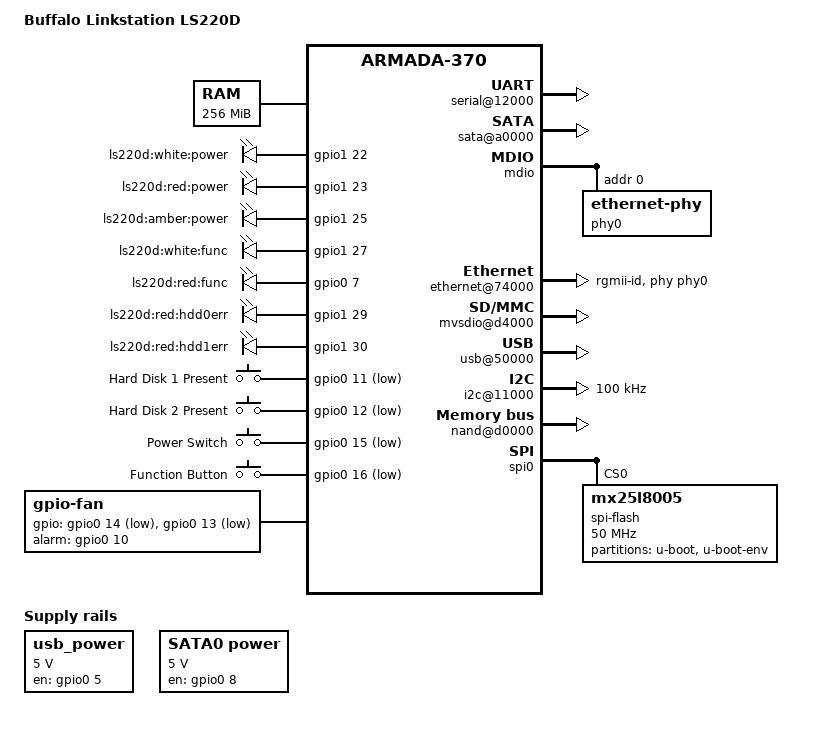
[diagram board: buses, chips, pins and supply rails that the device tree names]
// SPDX-License-Identifier: (GPL-2.0+ OR MIT)
/*
* Device Tree file for Buffalo LinkStation LS220D
*
* Copyright (C) Toha <tohenk@yahoo.com>, modified by Jeremy J. Peper
*/

/dts-v1/;

#include <dt-bindings/input/input.h>
#include <dt-bindings/gpio/gpio.h>
#include "armada-370.dtsi"

/ {
	model = "Buffalo Linkstation LS220D";
	compatible = "buffalo,ls220d", "marvell,armada370", "marvell,armada-370-xp";

	chosen {
		bootargs = "earlyprintk boot=local";
		stdout-path = "serial0:115200n8";
	};

	memory {
		device_type = "memory";
		reg = <0x00000000 0x10000000>; /* 256 MB */
	};

	soc {
		ranges = <MBUS_ID(0xf0, 0x01) 0 0xd0000000 0x100000
			  MBUS_ID(0x01, 0xe0) 0 0xfff00000 0x100000
			  MBUS_ID(0x09, 0x01) 0 0xf1100000 0x10000>;

		internal-regs {
			serial@12000 {
				status = "okay";
			};

			sata@a0000 {
				nr-ports = <2>;
				status = "okay";
			};

			timer@20300 {
				status = "okay";
			};

			mdio {
				pinctrl-0 = <&mdio_pins>;
				pinctrl-names = "default";

				phy0: ethernet-phy@0 {
					reg = <0>;
				};
			};

			ethernet@74000 {
				pinctrl-0 = <&ge1_rgmii_pins>;
				pinctrl-names = "default";
				status = "okay";
				phy = <&phy0>;
				phy-mode = "rgmii-id";
			};

			mvsdio@d4000 {
				pinctrl-0 = <&sdio_pins3>;
				pinctrl-names = "default";
				status = "okay";
				broken-cd;
			};

			usb@50000 {
				status = "okay";
			};

			i2c@11000 {
				status = "okay";
				clock-frequency = <100000>;
			};

			nand@d0000 {
				status = "okay";
				num-cs = <1>;
				marvell,nand-keep-config;
				marvell,nand-enable-arbiter;
				nand-on-flash-bbt;

				/* Use Hardware BCH ECC */
				//nand-ecc-strength = <4>;
				//nand-ecc-step-size = <512>;

				partition@0 {
					label = "boot";
					reg = <0x00000000 0x02000000>;  /* 32MB */
				};
				partition@02100000 {
					label = "rootfs";
					reg = <0x02000000 0x1e000000>;  /* 480MB */
				};
			};
		};
	};

	regulators {
		compatible = "simple-bus";
		#address-cells = <1>;
		#size-cells = <0>;
		pinctrl-0 = <&usb_vbus &hdd_pwr0>;
		pinctrl-names = "default";

		usb_power: regulator@1 {
			compatible = "regulator-fixed";
			reg = <1>;
			regulator-name = "USB Power";
			regulator-min-microvolt = <5000000>;
			regulator-max-microvolt = <5000000>;
			enable-active-high;
			regulator-always-on;
			regulator-boot-on;
			gpio = <&gpio0 5 GPIO_ACTIVE_LOW>;
		};

		regulator@2 {
			compatible = "regulator-fixed";
			reg = <2>;
			regulator-name = "SATA0 power";
			regulator-min-microvolt = <5000000>;
			regulator-max-microvolt = <5000000>;
			enable-active-high;
			regulator-always-on;
			regulator-boot-on;
			gpio = <&gpio0 8 GPIO_ACTIVE_HIGH>;
		};
		
		//still looking for the gpio for second drive, 
	};

	gpio-leds {
		compatible = "gpio-leds";
		pinctrl-names = "default";
		pinctrl-0 = <&power_led_pin &alarm_led_pin &info_led_pin &func_led_pin 
				&system_led_pins &sata1_led_pin &sata2_led_pin>;

		white-power-led {
			label = "ls220d:white:power";
			gpios = <&gpio1 22 GPIO_ACTIVE_HIGH>;
			default-state = "on";
		};
		red-power-led {
			label = "ls220d:red:power";
			gpios = <&gpio1 23 GPIO_ACTIVE_HIGH>;
			default-state = "off";
		};
		amber-power-led {
			label = "ls220d:amber:power";
			gpios = <&gpio1 25 GPIO_ACTIVE_HIGH>;
			default-state = "off";
		};
		white-func-led {
			label = "ls220d:white:func";
			gpios = <&gpio1 27 GPIO_ACTIVE_HIGH>;
			default-state = "off";
			linux,default-trigger = "disk-activity";
		};
		red-func-led {
			label = "ls220d:red:func";
			gpios = <&gpio0 7 GPIO_ACTIVE_HIGH>;
			default-state = "off";
		};
		red-hdd0err-led {
			label = "ls220d:red:hdd0err";
			gpios = <&gpio1 29 GPIO_ACTIVE_HIGH>;
			default-state = "off";
			linux,default-trigger = "ata1";
		};
		red-hdd1err-led {
			label = "ls220d:red:hdd1err";
			gpios = <&gpio1 30 GPIO_ACTIVE_HIGH>;
			default-state = "off";
			linux,default-trigger = "ata1";
		};
	};

	restart_poweroff {
                compatible = "restart-poweroff";
        };

	gpio-keys {
		compatible = "gpio-keys";
		pinctrl-0 = <&power_switch &func_button &hdd_hot0_n &hdd_hot1_n>;
		pinctrl-names = "default";

		hdd0-hot {
                        label = "Hard Disk 1 Present";
                        linux,code = <KEY_PROG1>;
                        gpios = <&gpio0 11 GPIO_ACTIVE_LOW>;
                };

                hdd1-hot {
                        label = "Hard Disk 2 Present";
                        linux,code = <KEY_PROG2>;
                        gpios = <&gpio0 12 GPIO_ACTIVE_LOW>;
                };

		power-switch {
			label = "Power Switch";
			linux,code = <KEY_POWER>;
			gpios = <&gpio0 15 GPIO_ACTIVE_LOW>;
		};
		func-button {
			label = "Function Button";
			linux,code = <KEY_OPTION>;
			gpios = <&gpio0 16 GPIO_ACTIVE_LOW>;
		};
	};

	gpio-fan {
		compatible = "gpio-fan";
		pinctrl-0 = <&fan_low &fan_high &fan_lock>;
		pinctrl-names = "default";
		gpios = <&gpio0 14 GPIO_ACTIVE_LOW
		         &gpio0 13 GPIO_ACTIVE_LOW>;
		gpio-fan,speed-map = <0    3
		                      1500 2
		                      3250 1
		                      5000 0>;
		alarm-gpios = <&gpio0 10 GPIO_ACTIVE_HIGH>;
	};
};

&spi0 {
	status = "okay";
	pinctrl-0 = <&spi0_pins2>;

	spi-flash@0 {
		#address-cells = <1>;
		#size-cells = <1>;
		compatible = "mx25l8005", "jedec,spi-nor";
		reg = <0>; /* Chip select 0 */
		spi-max-frequency = <50000000>;

		partition@00000 {
			label = "u-boot";
			reg = <0x00000 0xf0000>;
			read-only;
		};
		partition@f0000 {
			label = "u-boot-env";
			reg = <0xf0000 0x10000>;
		};
	};
};

&pinctrl {
	usb_vbus: usb-vbus {
		marvell,pins = "mpp5";
		marvell,function = "gpo";
	};

	system_led_pins: system-led-pins {
                marvell,pins = "mpp7";
                marvell,function = "gpo";
        };

	hdd_pwr0: hdd-pwr0 {
		marvell,pins = "mpp8";
		marvell,function = "gpio";
	};

	fan_lock: fan-lock {
		marvell,pins = "mpp10";
		marvell,function = "gpio";
	};

	hdd_hot0_n: hdd-hot0-n {
                marvell,pins = "mpp11";
                marvell,function = "gpio";
        };

        hdd_hot1_n: hdd-hot1-n {
                marvell,pins = "mpp12";
                marvell,function = "gpio";
        };

	fan_high: fan-high {
		marvell,pins = "mpp13";
		marvell,function = "gpio";
	};
	fan_low: fan-low {
		marvell,pins = "mpp14";
		marvell,function = "gpio";
	};
	power_switch: power-switch {
		marvell,pins = "mpp15";
		marvell,function = "gpio";
	};
	func_button: func-button {
		marvell,pins = "mpp16";
		marvell,function = "gpio";
	};
	power_led_pin: power-led-pin {
		marvell,pins = "mpp54";
		marvell,function = "gpo";
	};
	alarm_led_pin: alarm-led-pin {
		marvell,pins = "mpp55";
		marvell,function = "gpio";
	};
	info_led_pin: info-led-pin {
		marvell,pins = "mpp57";
		marvell,function = "gpio";
	};
	func_led_pin: func-led-pin {
		marvell,pins = "mpp59";
		marvell,function = "gpo";
	};
	sata1_led_pin: sata1-led-pin {
		marvell,pins = "mpp61";
		marvell,function = "gpo";
	};
	sata2_led_pin: sata2-led-pin {
		marvell,pins = "mpp62";
		marvell,function = "gpio";
	};
};
